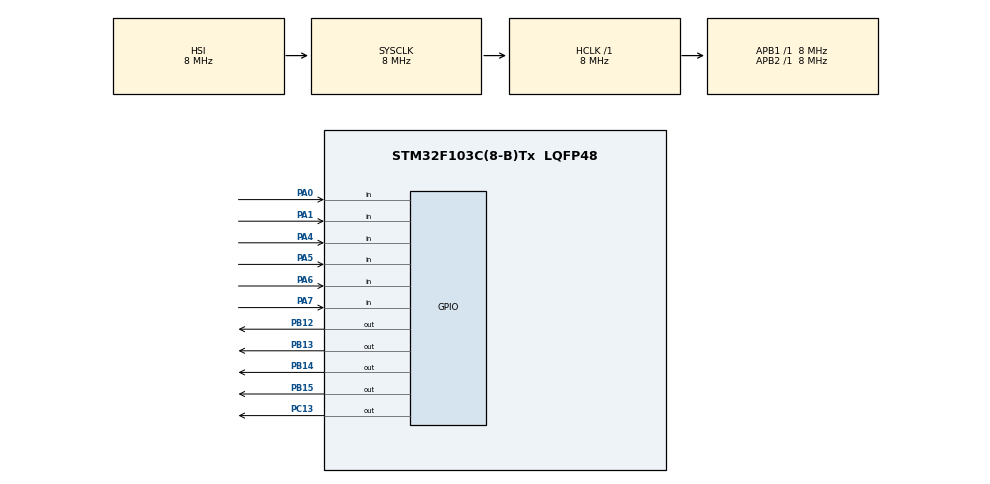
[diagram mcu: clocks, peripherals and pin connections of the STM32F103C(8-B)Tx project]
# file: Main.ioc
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Mcu.Family=STM32F1
Mcu.Name=STM32F103C(8-B)Tx
Mcu.Package=LQFP48
NVIC.PriorityGroup=NVIC_PRIORITYGROUP_4
PA0-WKUP.GPIO_PuPd=GPIO_PULLUP
PA0-WKUP.Signal=GPIO_Input
PA1.GPIO_PuPd=GPIO_PULLDOWN
PA1.Signal=GPIO_Input
PA13.Mode=Serial_Wire
PA13.Signal=SYS_JTMS-SWDIO
PA14.Mode=Serial_Wire
PA14.Signal=SYS_JTCK-SWCLK
PA4.Signal=GPIO_Input
PA5.Signal=GPIO_Input
PA6.Signal=GPIO_Input
PA7.Signal=GPIO_Input
PB12.Signal=GPIO_Output
PB13.Signal=GPIO_Output
PB14.Signal=GPIO_Output
PB15.Signal=GPIO_Output
PC13-TAMPER-RTC.PinState=GPIO_PIN_SET
PC13-TAMPER-RTC.Signal=GPIO_Output
ProjectManager.HeapSize=0x200
ProjectManager.StackSize=0x400
ProjectManager.TargetToolchain=MDK-ARM V5.32
RCC.AHBFreq_Value=8000000
RCC.APB1Freq_Value=8000000
RCC.APB1TimFreq_Value=8000000
RCC.APB2Freq_Value=8000000
RCC.APB2TimFreq_Value=8000000
RCC.HCLKFreq_Value=8000000
RCC.HSICalibrationValue=8
RCC.SYSCLKFreq_VALUE=8000000
RCC.USBFreq_Value=8000000
board=custom

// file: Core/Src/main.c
/* USER CODE BEGIN Header */
/**
  ******************************************************************************
  * @file           : main.c
  * @brief          : Main program body
  ******************************************************************************
  * @attention
  *
  * Copyright (c) 2023 STMicroelectronics.
  * All rights reserved.
  *
  * This software is licensed under terms that can be found in the LICENSE file
  * in the root directory of this software component.
  * If no LICENSE file comes with this software, it is provided AS-IS.
  *
  ******************************************************************************
  */
/* USER CODE END Header */
#include "main.h"

void SystemClock_Config(void);
static void MX_GPIO_Init(void);
/* USER CODE BEGIN PFP */
void Button1(void);
void Button2(void);
/* USER CODE END PFP */

int main(void)
{

  /* MCU Configuration--------------------------------------------------------*/

  /* Reset of all peripherals, Initializes the Flash interface and the Systick. */
  HAL_Init();

  /* Configure the system clock */
  SystemClock_Config();

  /* Initialize all configured peripherals */
  MX_GPIO_Init();

  /* Infinite loop */
	while(1){

    /* USER CODE BEGIN 3 */
		Button1();
    Button2();

    uint32_t value=(GPIOA->IDR)>>4 & (0b1111U);
    GPIOB->ODR= ((GPIOB->ODR) & ~(0b1111<<12)) | (value<<12);
		//HAL_Delay(250);
  }
  /* USER CODE END 3 */
}

void SystemClock_Config(void)
{
  RCC_OscInitTypeDef RCC_OscInitStruct = {0};
  RCC_ClkInitTypeDef RCC_ClkInitStruct = {0};

  /** Initializes the RCC Oscillators according to the specified parameters
  * in the RCC_OscInitTypeDef structure.
  */
  RCC_OscInitStruct.OscillatorType = RCC_OSCILLATORTYPE_HSI;
  RCC_OscInitStruct.HSIState = RCC_HSI_ON;
  RCC_OscInitStruct.HSICalibrationValue = 8;
  RCC_OscInitStruct.PLL.PLLState = RCC_PLL_NONE;
  if (HAL_RCC_OscConfig(&RCC_OscInitStruct) != HAL_OK)
  {
    Error_Handler();
  }

  /** Initializes the CPU, AHB and APB buses clocks
  */
  RCC_ClkInitStruct.ClockType = RCC_CLOCKTYPE_HCLK|RCC_CLOCKTYPE_SYSCLK
                              |RCC_CLOCKTYPE_PCLK1|RCC_CLOCKTYPE_PCLK2;
  RCC_ClkInitStruct.SYSCLKSource = RCC_SYSCLKSOURCE_HSI;
  RCC_ClkInitStruct.AHBCLKDivider = RCC_SYSCLK_DIV1;
  RCC_ClkInitStruct.APB1CLKDivider = RCC_HCLK_DIV1;
  RCC_ClkInitStruct.APB2CLKDivider = RCC_HCLK_DIV1;

  if (HAL_RCC_ClockConfig(&RCC_ClkInitStruct, FLASH_LATENCY_0) != HAL_OK)
  {
    Error_Handler();
  }
}

static void MX_GPIO_Init(void)
{
  GPIO_InitTypeDef GPIO_InitStruct = {0};

  /* GPIO Ports Clock Enable */
  __HAL_RCC_GPIOC_CLK_ENABLE();
  __HAL_RCC_GPIOA_CLK_ENABLE();
  __HAL_RCC_GPIOB_CLK_ENABLE();

  /*Configure GPIO pin Output Level */
  HAL_GPIO_WritePin(GPIOC, GPIO_PIN_13, GPIO_PIN_SET);

  /*Configure GPIO pin Output Level */
  HAL_GPIO_WritePin(GPIOB, GPIO_PIN_12|GPIO_PIN_13|GPIO_PIN_14|GPIO_PIN_15, GPIO_PIN_RESET);

  /*Configure GPIO pin : PC13 */
  GPIO_InitStruct.Pin = GPIO_PIN_13;
  GPIO_InitStruct.Mode = GPIO_MODE_OUTPUT_PP;
  GPIO_InitStruct.Pull = GPIO_NOPULL;
  GPIO_InitStruct.Speed = GPIO_SPEED_FREQ_LOW;
  HAL_GPIO_Init(GPIOC, &GPIO_InitStruct);

  /*Configure GPIO pin : PA0 */
  GPIO_InitStruct.Pin = GPIO_PIN_0;
  GPIO_InitStruct.Mode = GPIO_MODE_INPUT;
  GPIO_InitStruct.Pull = GPIO_PULLUP;
  HAL_GPIO_Init(GPIOA, &GPIO_InitStruct);

  /*Configure GPIO pin : PA1 */
  GPIO_InitStruct.Pin = GPIO_PIN_1;
  GPIO_InitStruct.Mode = GPIO_MODE_INPUT;
  GPIO_InitStruct.Pull = GPIO_PULLDOWN;
  HAL_GPIO_Init(GPIOA, &GPIO_InitStruct);

  /*Configure GPIO pins : PA4 PA5 PA6 PA7 */
  GPIO_InitStruct.Pin = GPIO_PIN_4|GPIO_PIN_5|GPIO_PIN_6|GPIO_PIN_7;
  GPIO_InitStruct.Mode = GPIO_MODE_INPUT;
  GPIO_InitStruct.Pull = GPIO_NOPULL;
  HAL_GPIO_Init(GPIOA, &GPIO_InitStruct);

  /*Configure GPIO pins : PB12 PB13 PB14 PB15 */
  GPIO_InitStruct.Pin = GPIO_PIN_12|GPIO_PIN_13|GPIO_PIN_14|GPIO_PIN_15;
  GPIO_InitStruct.Mode = GPIO_MODE_OUTPUT_PP;
  GPIO_InitStruct.Pull = GPIO_NOPULL;
  GPIO_InitStruct.Speed = GPIO_SPEED_FREQ_LOW;
  HAL_GPIO_Init(GPIOB, &GPIO_InitStruct);

}

/* USER CODE BEGIN 4 */
//**********************************************
void Button1(void){
		static char status=1;

    if(HAL_GPIO_ReadPin(GPIOA,GPIO_PIN_0)==0 && status==1){
				HAL_Delay(30);
				if(HAL_GPIO_ReadPin(GPIOA,GPIO_PIN_0)==0){
					status=0;
					HAL_GPIO_TogglePin(GPIOC,GPIO_PIN_13);
				}
		}
    else if(HAL_GPIO_ReadPin(GPIOA,GPIO_PIN_0)==1 && status==0){
			HAL_Delay(30);
			if(HAL_GPIO_ReadPin(GPIOA,GPIO_PIN_0)==1){
				status=1;
			}
		}
}

//**********************************************
void Button2(void){
	static char status=0;

		if(HAL_GPIO_ReadPin(GPIOA,GPIO_PIN_1)==1 && status==0){
				HAL_Delay(30);
				if(HAL_GPIO_ReadPin(GPIOA,GPIO_PIN_1)==1){
					status=1;
					HAL_GPIO_WritePin(GPIOC,GPIO_PIN_13,1);
				}
		}
		else if(HAL_GPIO_ReadPin(GPIOA,GPIO_PIN_1)==0 && status==1){
			HAL_Delay(30);
			if(HAL_GPIO_ReadPin(GPIOA,GPIO_PIN_1)==0){
				status=0;
			}
		}
}
/* USER CODE END 4 */

void Error_Handler(void)
{
  __disable_irq();
  while (1)
  {
  }
}
